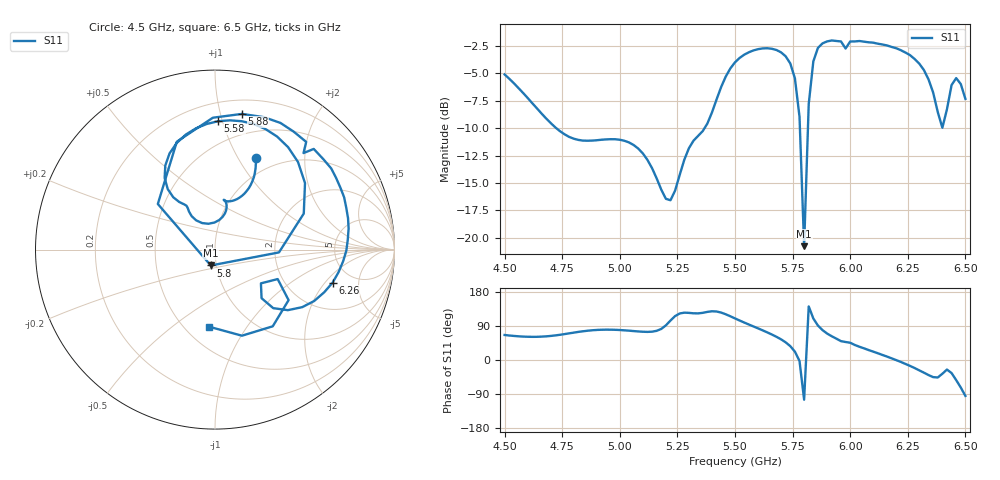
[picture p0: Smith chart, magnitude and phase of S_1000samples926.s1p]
! TOUCHSTONE file generated by CST MICROWAVE STUDIO
! Date and time: Sat Oct 29 20:05:02 2022
! Project name: L.cst
! Parameters = {Di=1.27; Epsilon_r=1.56; InnerDiameter=1.27; Length=2; Lf=10; Lg=60; OuterConductorThickness=0.2921; OuterDiameter=3.6; Wf=3; Wp=41.2; de=1.5; df=6.8; g=0.8; gx=2.25201; gy=2.64432; h=2.34; hf=1.524; px=14.9512; py=12.8749; w=9.7; wx=12.6992; wy=10.2306}
! Header version: 2018
! Port assignment regex: !\s*Touchstone port\s*([0-9]+)\s*=\s*(CST MWS port|CST DS port)\s*([0-9]+|Zmin|Zmax)\s*\(\"(.*)\"\)(\s*mode\s*([0-9]+))?.*
! Touchstone port assignment:
! Touchstone port 1 = CST MWS port 1 ("")
# GHz S DB R 50
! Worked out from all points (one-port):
!   101 points, 4.5 GHz to 6.5 GHz, reference 50 ohm
!   lowest |S11| = -20.8 dB at 5.8 GHz (marker M1), VSWR 1.20, Z = 47 - j8.39 ohm
!   |S11| at or under -10 dB: 4.724 GHz to 5.368 GHz (643.3 MHz wide, 12.7 % of centre); 5.782 GHz to 5.817 GHz (34.83 MHz wide, 0.601 % of centre)
!   S11 on the Smith chart (normalised r, x): 4.5 GHz: 0.81, +1.19; 5.58 GHz: 0.33, +0.97; 5.8 GHz: 0.94, -0.17; 5.88 GHz: 0.31, +1.17; 6.26 GHz: 3.51, -2.41; 6.5 GHz: 0.65, -0.68
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4.5  -5.10 66.0
4.76  -10.55 68.4
5  -11.06 79.1
5.1  -12.30 74.6
5.2  -16.44 91.4
5.26  -14.25 122.8
5.4  -8.57 128.6
5.5  -4.00 109.7
5.58  -2.91 88.6
5.68  -2.87 61.2
5.72  -3.45 46.6
5.76  -5.45 22.1
5.78  -8.95 -2.5
5.8  -20.76 -104.8
5.82  -7.80 141.4
5.84  -3.91 109.5
5.88  -2.26 78.8
5.96  -2.09 49.8
6  -2.09 45.6
6.14  -2.37 13.3
6.26  -3.34 -15.7
6.34  -5.55 -39.8
6.38  -8.52 -46.2
6.4  -9.96 -36.3
6.42  -8.27 -25.2
6.44  -6.07 -34.5
6.48  -5.97 -72.6
6.5  -7.33 -94.8
